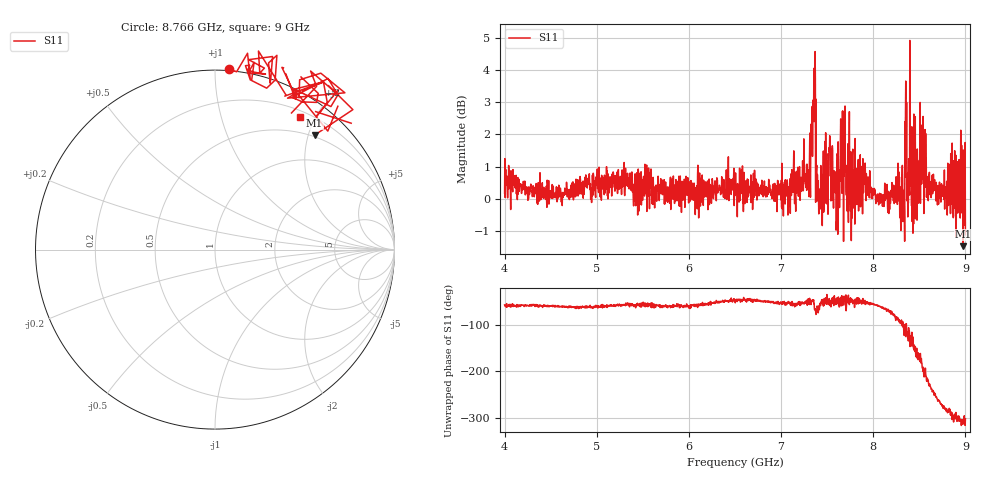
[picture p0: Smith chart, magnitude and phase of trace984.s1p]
! Created with skrf 1.8.0 (http://scikit-rf.org).
# Hz S RI R 50.0
!freq ReS11 ImS11
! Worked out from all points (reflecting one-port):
!   1601 points, 4 GHz to 9 GHz, reference 50 ohm
!   lowest |S11| = -1.5 dB at 8.975 GHz (marker M1), VSWR 11.93, Z = 23.6 + j105 ohm
!   phase of S11 starts at -56 deg and turns -247 deg over the sweep
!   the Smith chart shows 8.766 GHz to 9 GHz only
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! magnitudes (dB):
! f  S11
! 4 GHz  0.2
! 4.625 GHz  -0.2
! 5.25 GHz  0.4
! 5.875 GHz  -0.1
! 6.5 GHz  0.1
! 7.125 GHz  0.4
! 7.294 GHz  0.7
! 7.347 GHz  3.1
! 7.372 GHz  3.7
! 7.4 GHz  0.6
! 7.428 GHz  -0.1
! 7.538 GHz  1.6
! 7.609 GHz  1.4
! 7.669 GHz  1.6
! 7.75 GHz  0.4
! 7.894 GHz  0.2
! 8.097 GHz  0.1
! 8.259 GHz  0.0
! 8.316 GHz  1.0
! 8.338 GHz  -0.4
! 8.375 GHz  -0.6
! 8.447 GHz  1.2
! 8.541 GHz  2.6
! 8.603 GHz  0.7
! 8.712 GHz  0.3
! 8.834 GHz  1.1
! 8.975 GHz  -1.5
! 9 GHz  -1.1
